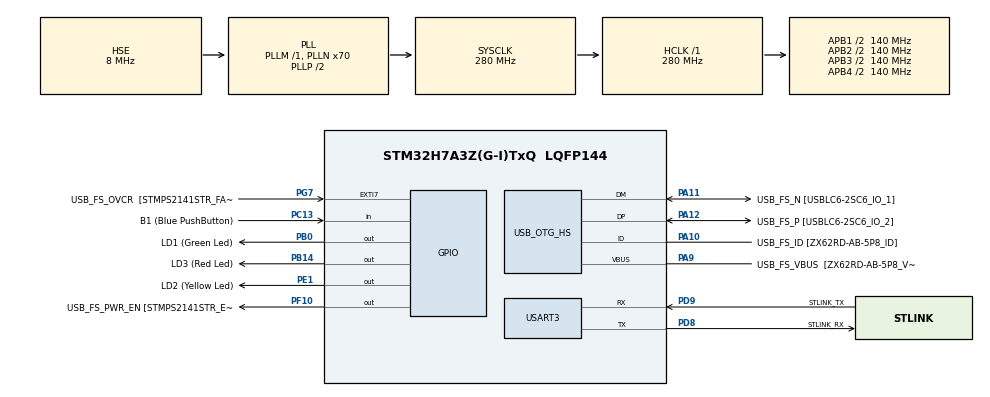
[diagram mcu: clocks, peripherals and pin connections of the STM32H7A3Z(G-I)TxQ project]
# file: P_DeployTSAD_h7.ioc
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CORTEX_M7.CPU_DCache=Enabled
CORTEX_M7.CPU_ICache=Enabled
Mcu.Family=STM32H7
Mcu.Name=STM32H7A3Z(G-I)TxQ
Mcu.Package=LQFP144
NVIC.PriorityGroup=NVIC_PRIORITYGROUP_4
PA10.GPIO_Label=USB_FS_ID [ZX62RD-AB-5P8_ID]
PA10.Mode=OTG/Dual-Role-Device-FS
PA10.Signal=USB_OTG_HS_ID
PA11.GPIO_Label=USB_FS_N [USBLC6-2SC6_IO_1]
PA11.Mode=OTG/Dual-Role-Device-FS
PA11.Signal=USB_OTG_HS_DM
PA12.GPIO_Label=USB_FS_P [USBLC6-2SC6_IO_2]
PA12.Mode=OTG/Dual-Role-Device-FS
PA12.Signal=USB_OTG_HS_DP
PA9.GPIO_Label=USB_FS_VBUS  [ZX62RD-AB-5P8_VBUS]
PA9.Mode=Activate_VBUS_FS
PA9.Signal=USB_OTG_HS_VBUS
PB0.GPIO_Label=LD1 (Green Led)
PB0.Signal=GPIO_Output
PB14.GPIO_Label=LD3 (Red Led)
PB14.Signal=GPIO_Output
PC13.GPIO_Label=B1 (Blue PushButton)
PC13.Signal=GPIO_Input
PC14-OSC32_IN.GPIO_Label=OSC32_IN
PC14-OSC32_IN.Mode=LSE-External-Oscillator
PC14-OSC32_IN.Signal=RCC_OSC32_IN
PC15-OSC32_OUT.GPIO_Label=OSC32_OUT
PC15-OSC32_OUT.Mode=LSE-External-Oscillator
PC15-OSC32_OUT.Signal=RCC_OSC32_OUT
PD8.GPIO_Label=STLINK_RX
PD8.Mode=Asynchronous
PD8.Signal=USART3_TX
PD9.GPIO_Label=STLINK_TX
PD9.Mode=Asynchronous
PD9.Signal=USART3_RX
PE1.GPIO_Label=LD2 (Yellow Led)
PE1.Signal=GPIO_Output
PF10.GPIO_Label=USB_FS_PWR_EN [STMPS2141STR_EN]
PF10.Signal=GPIO_Output
PG7.GPIO_Label=USB_FS_OVCR  [STMPS2141STR_FAULT]
PG7.Signal=GPXTI7
PH0-OSC_IN.GPIO_Label=PH0-MCU
PH0-OSC_IN.Mode=HSE-External-Clock-Source
PH0-OSC_IN.Signal=RCC_OSC_IN
PH1-OSC_OUT.GPIO_Label=PH1-MCU
PH1-OSC_OUT.Signal=RCC_OSC_OUT
ProjectManager.HeapSize=0x200
ProjectManager.StackSize=0x400
ProjectManager.TargetToolchain=STM32CubeIDE
RCC.ADCFreq_Value=16125000
RCC.APB1Freq_Value=140000000
RCC.APB2Freq_Value=140000000
RCC.APB3Freq_Value=140000000
RCC.APB4Freq_Value=140000000
RCC.CDPPRE=RCC_APB3_DIV2
RCC.CDPPRE1=RCC_APB1_DIV2
RCC.CDPPRE2=RCC_APB2_DIV2
RCC.CortexFreq_Value=280000000
RCC.DIVM1=1
RCC.DIVM3=1
RCC.DIVN1=70
RCC.DIVN3=24
RCC.DIVQ1=8
RCC.DIVQ3=4
RCC.HCLKFreq_Value=280000000
RCC.HSE_VALUE=8000000
RCC.PLLFRACN=0
RCC.PLLSourceVirtual=RCC_PLLSOURCE_HSE
RCC.PWR_Regulator_Voltage_Scale=PWR_REGULATOR_VOLTAGE_SCALE0
RCC.SRDPPRE=RCC_APB4_DIV2
RCC.SYSCLKFreq_VALUE=280000000
RCC.SYSCLKSource=RCC_SYSCLKSOURCE_PLLCLK
RCC.SupplySource=PWR_DIRECT_SMPS_SUPPLY
RCC.USBCLockSelection=RCC_USBCLKSOURCE_HSI48
RCC.USBFreq_Value=48000000
USART3.VirtualMode-Asynchronous=VM_ASYNC
VP_CRC_VS_CRC.Mode=CRC_Activate
board=NUCLEO-H7A3ZI-Q

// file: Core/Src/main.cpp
/* USER CODE BEGIN Header */
/**
  ******************************************************************************
  * @file           : main.c
  * @brief          : Main program body
  ******************************************************************************
  * @attention
  *
  * Copyright (c) 2023 STMicroelectronics.
  * All rights reserved.
  *
  * This software is licensed under terms that can be found in the LICENSE file
  * in the root directory of this software component.
  * If no LICENSE file comes with this software, it is provided AS-IS.
  *
  ******************************************************************************
  */
/* USER CODE END Header */
#include "main.h"
#include <stdio.h>

/* USER CODE BEGIN Includes */
#define RUN_INFERENCE	// Choose RUN_INFERENCE or BASELINE_MEMORY_FOOTPRINT or PROFILE_MEMORY_AND_LATENCY
#define GAN_QUANT		//Choose between LSTM_0_QUANT, LSTM_1_QUANT, GAN or GAN_QUANT

#if defined( RUN_INFERENCE ) || defined( PROFILE_MEMORY_AND_LATENCY )
	#include "tensorflow/lite/core/c/common.h"
	#include "tensorflow/lite/micro/micro_interpreter.h"
	#include "tensorflow/lite/micro/micro_log.h"
	#include "tensorflow/lite/micro/micro_mutable_op_resolver.h"
	#include "tensorflow/lite/micro/micro_profiler.h"
	#include "tensorflow/lite/micro/recording_micro_interpreter.h"
	#include "tensorflow/lite/micro/system_setup.h"
	#include "tensorflow/lite/schema/schema_generated.h"
	#include "tensorflow/lite/micro/micro_utils.h"
	#include "tensorflow/lite/micro/cortex_m_generic/debug_log_callback.h"

	#include "lstm_0_quant.h"
	#include "lstm_0.h"
	#include "lstm_1_quant.h"
	#include "lstm_1.h"
	#include "gan_0_quant.h"
	#include "gan_0.h"
//	#include "C_1_test.h"
	#include "C_1_test_400.h"
//	#include "C_2_test.h"
	#include "C_2_test_400.h"

#elif defined( BASELINE_MEMORY_FOOTPRINT )
	#include <stdio.h>

#endif

/* USER CODE END Includes */

/* USER CODE BEGIN PD */
#if defined( PROFILE_MEMORY_AND_LATENCY ) || defined( RUN_INFERENCE )
	#define TENSOR_ARENA_SIZE (4 * 1024)
	#define N_SAMPLE_PER_INPUT 100
#endif

/* USER CODE END PD */

CRC_HandleTypeDef hcrc;

UART_HandleTypeDef huart3;

/* USER CODE BEGIN PV */
#define _CONCAT_ARG(a, b)     a ## b
#define _CONCAT(a, b)         _CONCAT_ARG(a, b)

#if defined(_MSC_VER)
  #define MEM_ALIGNED(x)
#elif defined(__ICCARM__) || defined (__IAR_SYSTEMS_ICC__)
  #define MEM_ALIGNED(x)         _CONCAT(MEM_ALIGNED_,x)
  #define MEM_ALIGNED_16         _Pragma("data_alignment = 16")
#elif defined(__CC_ARM)
  #define MEM_ALIGNED(x)         __attribute__((aligned (x)))
#elif defined(__GNUC__)
  #define MEM_ALIGNED(x)         __attribute__((aligned(x)))
#else
  #define MEM_ALIGNED(x)
#endif

#if defined( PROFILE_MEMORY_AND_LATENCY ) || defined( RUN_INFERENCE )
	static uint8_t tensor_arena[TENSOR_ARENA_SIZE] MEM_ALIGNED(16);
#endif

/* USER CODE END PV */

void SystemClock_Config(void);
static void MX_GPIO_Init(void);
static void MX_USART3_UART_Init(void);
static void MX_USB_OTG_HS_USB_Init(void);
static void MX_CRC_Init(void);

/* USER CODE BEGIN PFP */
static void debug_log_printf(const char* s);

#ifdef RUN_INFERENCE
	static TfLiteStatus runInference(void);

#elif defined( PROFILE_MEMORY_AND_LATENCY )
	static TfLiteStatus profileMemoryAndLatency(void);

#elif defined ( BASELINE_MEMORY_FOOTPRINT )
	static void baseLineMemoryFootprint(void);

#else

#endif

/* USER CODE END PFP */

/* USER CODE BEGIN 0 */

extern "C" {

// Needed to use printf. If printf don't want be used, redefine the function "DebugLog" in file "tensorflow/lite/micro/debug_log.cc"
// This function is used by tensorflow to print some info.
	int __io_putchar(int ch)
	{
		HAL_UART_Transmit(&huart3, (uint8_t*) &ch, 1, HAL_MAX_DELAY);
		return ch;
	}
}

static void debug_log_printf(const char* s)
{
	printf(s);
}

/* USER CODE END 0 */

int main(void)
{
  /* Enable the CPU Cache */

  /* Enable I-Cache---------------------------------------------------------*/
  SCB_EnableICache();

  /* Enable D-Cache---------------------------------------------------------*/
  SCB_EnableDCache();

  /* MCU Configuration--------------------------------------------------------*/

  /* Reset of all peripherals, Initializes the Flash interface and the Systick. */
   HAL_Init();

  /* Configure the system clock */
  SystemClock_Config();

  /* Initialize all configured peripherals */
  MX_GPIO_Init();
  MX_USART3_UART_Init();
  MX_USB_OTG_HS_USB_Init();
  MX_CRC_Init();

  /* USER CODE BEGIN 2 */
  printf("Test printf\r\n");

#if defined(RUN_INFERENCE) || defined(PROFILE_MEMORY_AND_LATENCY)
  // Register callback for printing debug log
  RegisterDebugLogCallback(debug_log_printf);
#endif

  // Run inference
#ifdef RUN_INFERENCE
    TfLiteStatus aStatus = runInference();

	if (aStatus != kTfLiteOk)
	{
	  MicroPrintf("run inference error");
	  return kTfLiteError;
	}

#elif defined ( BASELINE_MEMORY_FOOTPRINT )
    baseLineMemoryFootprint();

#elif defined( PROFILE_MEMORY_AND_LATENCY )
  	TfLiteStatus aStatus = profileMemoryAndLatency();

	if (aStatus != kTfLiteOk)
	{
	  MicroPrintf("Profile Memory and Latency error");
	  return kTfLiteError;
	}

#endif

  /* USER CODE END 2 */

  /* Infinite loop */
  while (1)
  {

    /* USER CODE BEGIN 3 */
	HAL_GPIO_TogglePin(GPIOB, LD1_Pin);
	HAL_Delay(1000);
  }
  /* USER CODE END 3 */
}

void SystemClock_Config(void)
{
  RCC_OscInitTypeDef RCC_OscInitStruct = {0};
  RCC_ClkInitTypeDef RCC_ClkInitStruct = {0};

  /*AXI clock gating */
  RCC->CKGAENR = 0xFFFFFFFF;

  /** Supply configuration update enable
  */
  HAL_PWREx_ConfigSupply(PWR_DIRECT_SMPS_SUPPLY);

  /** Configure the main internal regulator output voltage
  */
  __HAL_PWR_VOLTAGESCALING_CONFIG(PWR_REGULATOR_VOLTAGE_SCALE0);

  while(!__HAL_PWR_GET_FLAG(PWR_FLAG_VOSRDY)) {}

  /** Initializes the RCC Oscillators according to the specified parameters
  * in the RCC_OscInitTypeDef structure.
  */
  RCC_OscInitStruct.OscillatorType = RCC_OSCILLATORTYPE_HSI48|RCC_OSCILLATORTYPE_HSE;
  RCC_OscInitStruct.HSEState = RCC_HSE_BYPASS;
  RCC_OscInitStruct.HSI48State = RCC_HSI48_ON;
  RCC_OscInitStruct.PLL.PLLState = RCC_PLL_ON;
  RCC_OscInitStruct.PLL.PLLSource = RCC_PLLSOURCE_HSE;
  RCC_OscInitStruct.PLL.PLLM = 1;
  RCC_OscInitStruct.PLL.PLLN = 70;
  RCC_OscInitStruct.PLL.PLLP = 2;
  RCC_OscInitStruct.PLL.PLLQ = 8;
  RCC_OscInitStruct.PLL.PLLR = 2;
  RCC_OscInitStruct.PLL.PLLRGE = RCC_PLL1VCIRANGE_3;
  RCC_OscInitStruct.PLL.PLLVCOSEL = RCC_PLL1VCOWIDE;
  RCC_OscInitStruct.PLL.PLLFRACN = 0;
  if (HAL_RCC_OscConfig(&RCC_OscInitStruct) != HAL_OK)
  {
    Error_Handler();
  }

  /** Initializes the CPU, AHB and APB buses clocks
  */
  RCC_ClkInitStruct.ClockType = RCC_CLOCKTYPE_HCLK|RCC_CLOCKTYPE_SYSCLK
                              |RCC_CLOCKTYPE_PCLK1|RCC_CLOCKTYPE_PCLK2
                              |RCC_CLOCKTYPE_D3PCLK1|RCC_CLOCKTYPE_D1PCLK1;
  RCC_ClkInitStruct.SYSCLKSource = RCC_SYSCLKSOURCE_PLLCLK;
  RCC_ClkInitStruct.SYSCLKDivider = RCC_SYSCLK_DIV1;
  RCC_ClkInitStruct.AHBCLKDivider = RCC_HCLK_DIV1;
  RCC_ClkInitStruct.APB3CLKDivider = RCC_APB3_DIV2;
  RCC_ClkInitStruct.APB1CLKDivider = RCC_APB1_DIV2;
  RCC_ClkInitStruct.APB2CLKDivider = RCC_APB2_DIV2;
  RCC_ClkInitStruct.APB4CLKDivider = RCC_APB4_DIV2;

  if (HAL_RCC_ClockConfig(&RCC_ClkInitStruct, FLASH_LATENCY_6) != HAL_OK)
  {
    Error_Handler();
  }
}

static void MX_CRC_Init(void)
{

  hcrc.Instance = CRC;
  hcrc.Init.DefaultPolynomialUse = DEFAULT_POLYNOMIAL_ENABLE;
  hcrc.Init.DefaultInitValueUse = DEFAULT_INIT_VALUE_ENABLE;
  hcrc.Init.InputDataInversionMode = CRC_INPUTDATA_INVERSION_NONE;
  hcrc.Init.OutputDataInversionMode = CRC_OUTPUTDATA_INVERSION_DISABLE;
  hcrc.InputDataFormat = CRC_INPUTDATA_FORMAT_BYTES;
  if (HAL_CRC_Init(&hcrc) != HAL_OK)
  {
    Error_Handler();
  }

}

static void MX_USART3_UART_Init(void)
{

  huart3.Instance = USART3;
  huart3.Init.BaudRate = 115200;
  huart3.Init.WordLength = UART_WORDLENGTH_8B;
  huart3.Init.StopBits = UART_STOPBITS_1;
  huart3.Init.Parity = UART_PARITY_NONE;
  huart3.Init.Mode = UART_MODE_TX_RX;
  huart3.Init.HwFlowCtl = UART_HWCONTROL_NONE;
  huart3.Init.OverSampling = UART_OVERSAMPLING_16;
  huart3.Init.OneBitSampling = UART_ONE_BIT_SAMPLE_DISABLE;
  huart3.Init.ClockPrescaler = UART_PRESCALER_DIV1;
  huart3.AdvancedInit.AdvFeatureInit = UART_ADVFEATURE_NO_INIT;
  if (HAL_UART_Init(&huart3) != HAL_OK)
  {
    Error_Handler();
  }
  if (HAL_UARTEx_SetTxFifoThreshold(&huart3, UART_TXFIFO_THRESHOLD_1_8) != HAL_OK)
  {
    Error_Handler();
  }
  if (HAL_UARTEx_SetRxFifoThreshold(&huart3, UART_RXFIFO_THRESHOLD_1_8) != HAL_OK)
  {
    Error_Handler();
  }
  if (HAL_UARTEx_DisableFifoMode(&huart3) != HAL_OK)
  {
    Error_Handler();
  }

}

static void MX_USB_OTG_HS_USB_Init(void)
{

}

static void MX_GPIO_Init(void)
{
  GPIO_InitTypeDef GPIO_InitStruct = {0};

  /* GPIO Ports Clock Enable */
  __HAL_RCC_GPIOC_CLK_ENABLE();
  __HAL_RCC_GPIOF_CLK_ENABLE();
  __HAL_RCC_GPIOH_CLK_ENABLE();
  __HAL_RCC_GPIOB_CLK_ENABLE();
  __HAL_RCC_GPIOD_CLK_ENABLE();
  __HAL_RCC_GPIOG_CLK_ENABLE();
  __HAL_RCC_GPIOA_CLK_ENABLE();
  __HAL_RCC_GPIOE_CLK_ENABLE();

  /*Configure GPIO pin Output Level */
  HAL_GPIO_WritePin(USB_FS_PWR_EN_GPIO_Port, USB_FS_PWR_EN_Pin, GPIO_PIN_RESET);

  /*Configure GPIO pin Output Level */
  HAL_GPIO_WritePin(GPIOB, LD1_Pin|LD3_Pin, GPIO_PIN_RESET);

  /*Configure GPIO pin Output Level */
  HAL_GPIO_WritePin(LD2_GPIO_Port, LD2_Pin, GPIO_PIN_RESET);

  /*Configure GPIO pin : B1_Pin */
  GPIO_InitStruct.Pin = B1_Pin;
  GPIO_InitStruct.Mode = GPIO_MODE_INPUT;
  GPIO_InitStruct.Pull = GPIO_NOPULL;
  HAL_GPIO_Init(B1_GPIO_Port, &GPIO_InitStruct);

  /*Configure GPIO pin : USB_FS_PWR_EN_Pin */
  GPIO_InitStruct.Pin = USB_FS_PWR_EN_Pin;
  GPIO_InitStruct.Mode = GPIO_MODE_OUTPUT_PP;
  GPIO_InitStruct.Pull = GPIO_NOPULL;
  GPIO_InitStruct.Speed = GPIO_SPEED_FREQ_LOW;
  HAL_GPIO_Init(USB_FS_PWR_EN_GPIO_Port, &GPIO_InitStruct);

  /*Configure GPIO pins : LD1_Pin LD3_Pin */
  GPIO_InitStruct.Pin = LD1_Pin|LD3_Pin;
  GPIO_InitStruct.Mode = GPIO_MODE_OUTPUT_PP;
  GPIO_InitStruct.Pull = GPIO_NOPULL;
  GPIO_InitStruct.Speed = GPIO_SPEED_FREQ_LOW;
  HAL_GPIO_Init(GPIOB, &GPIO_InitStruct);

  /*Configure GPIO pin : USB_FS_OVCR_Pin */
  GPIO_InitStruct.Pin = USB_FS_OVCR_Pin;
  GPIO_InitStruct.Mode = GPIO_MODE_IT_RISING;
  GPIO_InitStruct.Pull = GPIO_NOPULL;
  HAL_GPIO_Init(USB_FS_OVCR_GPIO_Port, &GPIO_InitStruct);

  /*Configure GPIO pin : USB_FS_VBUS_Pin */
  GPIO_InitStruct.Pin = USB_FS_VBUS_Pin;
  GPIO_InitStruct.Mode = GPIO_MODE_INPUT;
  GPIO_InitStruct.Pull = GPIO_NOPULL;
  HAL_GPIO_Init(USB_FS_VBUS_GPIO_Port, &GPIO_InitStruct);

  /*Configure GPIO pin : USB_FS_ID_Pin */
  GPIO_InitStruct.Pin = USB_FS_ID_Pin;
  GPIO_InitStruct.Mode = GPIO_MODE_AF_PP;
  GPIO_InitStruct.Pull = GPIO_NOPULL;
  GPIO_InitStruct.Speed = GPIO_SPEED_FREQ_LOW;
  GPIO_InitStruct.Alternate = GPIO_AF10_OTG1_HS;
  HAL_GPIO_Init(USB_FS_ID_GPIO_Port, &GPIO_InitStruct);

  /*Configure GPIO pins : USB_FS_N_Pin USB_FS_P_Pin */
  GPIO_InitStruct.Pin = USB_FS_N_Pin|USB_FS_P_Pin;
  GPIO_InitStruct.Mode = GPIO_MODE_AF_PP;
  GPIO_InitStruct.Pull = GPIO_NOPULL;
  GPIO_InitStruct.Speed = GPIO_SPEED_FREQ_LOW;
  HAL_GPIO_Init(GPIOA, &GPIO_InitStruct);

  /*Configure GPIO pin : LD2_Pin */
  GPIO_InitStruct.Pin = LD2_Pin;
  GPIO_InitStruct.Mode = GPIO_MODE_OUTPUT_PP;
  GPIO_InitStruct.Pull = GPIO_NOPULL;
  GPIO_InitStruct.Speed = GPIO_SPEED_FREQ_LOW;
  HAL_GPIO_Init(LD2_GPIO_Port, &GPIO_InitStruct);

}

/* USER CODE BEGIN 4 */
#ifdef RUN_INFERENCE
	static TfLiteStatus runInference(void)
	{
		int inputDimSize = 0;
		int outputDimSize = 0;
		int nInference = 0;

		MicroPrintf("Test MicroPrintf");
		MicroPrintf("You are in inference mode\r\n\r\n");

		// Model
#if defined(LSTM_0_QUANT)
		const tflite::Model* model = tflite::GetModel(lstm_0_quant);
#elif defined(LSTM_1_QUANT)
		const tflite::Model* model = tflite::GetModel(lstm_1_quant);
#elif defined(GAN_QUANT)
		const tflite::Model* model = tflite::GetModel(gan_0_quant);
#elif defined(GAN)
		const tflite::Model* model = tflite::GetModel(gan_0);
#endif
		if (model->version() != TFLITE_SCHEMA_VERSION)
		{
		MicroPrintf(
			"Model provided is schema version %d not equal "
			"to supported version %d.\n",
			model->version(), TFLITE_SCHEMA_VERSION);
		return kTfLiteError;
		}

#if defined(LSTM_0_QUANT) || defined (LSTM_1_QUANT)
		// Resolver
		tflite::MicroMutableOpResolver<6> micro_op_resolver;

		// Add dense neural network layer operation
		micro_op_resolver.AddFullyConnected();
		micro_op_resolver.AddQuantize();
		micro_op_resolver.AddUnidirectionalSequenceLSTM();
		micro_op_resolver.AddStridedSlice();
		micro_op_resolver.AddReshape();
		micro_op_resolver.AddDequantize();
#elif defined(GAN_QUANT)
		// Resolver
		tflite::MicroMutableOpResolver<5> micro_op_resolver;

		// Add dense neural network layer operation
		micro_op_resolver.AddFullyConnected();
		micro_op_resolver.AddLogistic();
		micro_op_resolver.AddQuantize();
		micro_op_resolver.AddReshape();
		micro_op_resolver.AddDequantize();
#elif defined(GAN)
		// Resolver
		tflite::MicroMutableOpResolver<3> micro_op_resolver;

		// Add dense neural network layer operation
		micro_op_resolver.AddFullyConnected();
		micro_op_resolver.AddLogistic();
		micro_op_resolver.AddReshape();
#endif

		// Build an interpreter to run the model with.
		tflite::MicroInterpreter interpreter(model, micro_op_resolver, tensor_arena,
										   TENSOR_ARENA_SIZE);

		// Allocate memory from the tensor_arena for the model's tensors.
		TfLiteStatus allocate_status = interpreter.AllocateTensors();
		if (allocate_status != kTfLiteOk)
		{
		  MicroPrintf("Allocate error");
		  return kTfLiteError;
		}

		MicroPrintf("MicroSpeech model arena size = %u\n",
				  interpreter.arena_used_bytes());

		// Assign model input and output buffers (tensors) to pointers
		TfLiteTensor* model_input = interpreter.input(0);
		TfLiteTensor* model_output = interpreter.output(0);

		// Print size of input
		inputDimSize = model_input->dims->size;
		MicroPrintf("Input dimension size : %d", inputDimSize);
		for(int i=0; i < inputDimSize; i++)
		{
		  MicroPrintf("size input number %d : %d", i, model_input->dims->data[i]);
		}

		MicroPrintf("");

		// Print size of output
		outputDimSize = model_output->dims->size;
		MicroPrintf("Output dimension size : %d", outputDimSize);
		for(int i=0; i < outputDimSize; i++)
		{
		  MicroPrintf("size output number %d : %d", i, model_output->dims->data[i]);
		}
		MicroPrintf("\n");

		// Print type of data
		MicroPrintf("Input type: %d", model_input->type);
		MicroPrintf("Type \"1\" means \"kTfLiteFloat32\" \n");

		// Get number of elements in input tensor
		uint32_t num_elements = model_input->bytes / sizeof(float);
		MicroPrintf("Number of input elements: %lu\r\n", num_elements);

		//****************************************************
		// Perform inference
		//****************************************************

		nInference = C_1_test_nInputs; //vdset_off_samples / N_SAMPLE_PER_INPUT;  // For vdset_on[3][25600] / 1024, the number of inference is : 25

		for(int iInference = 0; iInference < nInference ; iInference++)
		{
		  // Copy test data into the input model
#if defined(LSTM_1_QUANT)
			  for(int i=0; i < (C_2_test_window_size - 1); i++)
			  {
				  for(int y=0; y < C_2_test_dimension; y++)
				  {
					  model_input->data.f[(i*C_2_test_dimension) + y] = C_2_test[iInference][i][y];
				  }
			  }
#else
			  for(int i=0; i < (C_1_test_window_size - 1); i++)
			  {
				  for(int y=0; y < C_1_test_dimension; y++)
				  {
					  model_input->data.f[(i*C_1_test_dimension) + y] = C_1_test[iInference][i][y];
				  }
			  }
#endif

		  uint32_t atimeStart = HAL_GetTick();

		  // Infer
		  TfLiteStatus invoke_status = interpreter.Invoke();
		  if (invoke_status != kTfLiteOk)
		  {
			  MicroPrintf("Invoke error");
			  return kTfLiteError;
		  }

		  uint32_t atimeStop = HAL_GetTick();

		  // Print result
		  MicroPrintf("Inference counter : %d", iInference);
		  for(int i=0; i < model_output->dims->data[1]; i++)
		  {
			  MicroPrintf("class %d, score : %f", i, model_output->data.f[i]);
		  }

		  MicroPrintf("");  // Print an empty new line
		  MicroPrintf("Time measured manually for inference : %d ms", atimeStop - atimeStart);

		  MicroPrintf("");  // Print an empty new line
		}

		return kTfLiteOk;
	}

#elif defined( PROFILE_MEMORY_AND_LATENCY )
	static TfLiteStatus profileMemoryAndLatency(void)
	{
		tflite::MicroProfiler profiler;
		constexpr int kNumResourceVariables = 24;

#if defined(LSTM_0_QUANT) || defined(LSTM_1_QUANT)
		// Resolver
		tflite::MicroMutableOpResolver<6> op_resolver;

		// Add dense neural network layer operation
		op_resolver.AddFullyConnected();
		op_resolver.AddQuantize();
		op_resolver.AddUnidirectionalSequenceLSTM();
		op_resolver.AddStridedSlice();
		op_resolver.AddReshape();
		op_resolver.AddDequantize();
#elif defined(GAN_QUANT)
		// Resolver
		tflite::MicroMutableOpResolver<5> op_resolver;

		// Add dense neural network layer operation
		op_resolver.AddFullyConnected();
		op_resolver.AddLogistic();
		op_resolver.AddQuantize();
		op_resolver.AddReshape();
		op_resolver.AddDequantize();
#elif defined(GAN)
		// Resolver
		tflite::MicroMutableOpResolver<3> op_resolver;

		// Add dense neural network layer operation
		op_resolver.AddFullyConnected();
		op_resolver.AddLogistic();
		op_resolver.AddReshape();
#endif

		// Model
#if defined(LSTM_0_QUANT)
		const tflite::Model* model = tflite::GetModel(lstm_0_quant);
#elif defined(LSTM_1_QUANT)
		const tflite::Model* model = tflite::GetModel(lstm_1_quant);
#elif defined(GAN_QUANT)
		const tflite::Model* model = tflite::GetModel(gan_0_quant);
#elif defined(GAN)
		const tflite::Model* model = tflite::GetModel(gan_0);
#endif
		if (model->version() != TFLITE_SCHEMA_VERSION)
		{
		MicroPrintf(
			"Model provided is schema version %d not equal "
			"to supported version %d.\n",
			model->version(), TFLITE_SCHEMA_VERSION);
		return kTfLiteError;
		}

		// Allocator
		tflite::RecordingMicroAllocator* allocator(
		      tflite::RecordingMicroAllocator::Create(tensor_arena, TENSOR_ARENA_SIZE));

		// Build an recording interpreter to run the model with.
		tflite::RecordingMicroInterpreter interpreter(
				model, op_resolver, allocator,
			  tflite::MicroResourceVariables::Create(allocator, kNumResourceVariables),
			  &profiler);

		// Allocate memory from the tensor_arena for the model's tensors.
		TfLiteStatus allocate_status = interpreter.AllocateTensors();
		if (allocate_status != kTfLiteOk)
		{
		  MicroPrintf("Allocate error");
		  return kTfLiteError;
		}

		// Check input size
		size_t inputSize = interpreter.inputs_size();
//		TFLITE_CHECK_EQ(inputSize, 1);

		// Assign model input and output buffers (tensors) to pointers
		TfLiteTensor* model_input = interpreter.input(0);
		TfLiteTensor* model_output = interpreter.output(0);

		//****************************************************
		// Perform inference
		//****************************************************

		  // Copy test data into the input model
#if defined(LSTM_1_QUANT)
		for(int i=0; i < (C_2_test_window_size - 1); i++)
		{
		  for(int y=0; y < C_2_test_dimension; y++)
		  {
			  model_input->data.f[(i*C_2_test_dimension) + y] = C_2_test[0][i][y];
		  }
		}
#else
		for(int i=0; i < (C_1_test_window_size - 1); i++)
		{
		  for(int y=0; y < C_1_test_dimension; y++)
		  {
			  model_input->data.f[(i*C_1_test_dimension) + y] = C_1_test[0][i][y];
		  }
		}
#endif

		uint32_t atimeStart = HAL_GetTick();
		// Infer
		TfLiteStatus invoke_status = interpreter.Invoke();
		if (invoke_status != kTfLiteOk)
		{
		  MicroPrintf("Invoke error");
		  return kTfLiteError;
		}

		uint32_t atimeStop = HAL_GetTick();

		MicroPrintf("");  // Print an empty new line

		MicroPrintf("Print result of the inference");  // Print an empty new line
		// Print result
		for(int i=0; i < model_output->dims->data[1]; i++)
		{
		  MicroPrintf("class %d, score : %f", i, model_output->data.f[i]);
		}

		MicroPrintf("");  // Print an empty new line
		profiler.LogTicksPerTagCsv();

		MicroPrintf("");  // Print an empty new line
		interpreter.GetMicroAllocator().PrintAllocations();

		MicroPrintf("");  // Print an empty new line
		profiler.Log();

		MicroPrintf("");  // Print an empty new line
		MicroPrintf("Time measured manually : %d ms", atimeStop - atimeStart);

		return kTfLiteOk;
	}

#elif defined( BASELINE_MEMORY_FOOTPRINT )
	static void baseLineMemoryFootprint(void)
	{
		// Nothing
	}

#endif

/* USER CODE END 4 */

void Error_Handler(void)
{
  __disable_irq();
  while (1)
  {
  }
}
